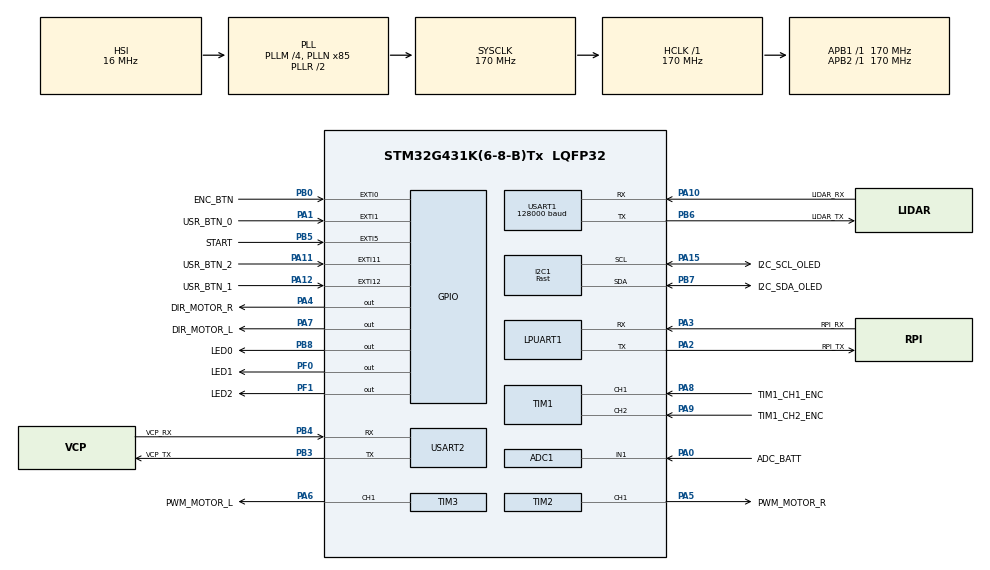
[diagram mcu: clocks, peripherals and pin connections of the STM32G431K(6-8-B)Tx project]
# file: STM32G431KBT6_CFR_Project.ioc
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ADC1.Channel-0\#ChannelRegularConversion=ADC_CHANNEL_1
ADC1.NbrOfConversionFlag=1
ADC1.OffsetNumber-0\#ChannelRegularConversion=ADC_OFFSET_NONE
ADC1.Rank-0\#ChannelRegularConversion=1
ADC1.SamplingTime-0\#ChannelRegularConversion=ADC_SAMPLETIME_2CYCLES_5
ADC1.master=1
Dma.I2C1_TX.0.Direction=DMA_MEMORY_TO_PERIPH
Dma.I2C1_TX.0.EventEnable=DISABLE
Dma.I2C1_TX.0.Instance=DMA1_Channel1
Dma.I2C1_TX.0.MemDataAlignment=DMA_MDATAALIGN_BYTE
Dma.I2C1_TX.0.MemInc=DMA_MINC_ENABLE
Dma.I2C1_TX.0.Mode=DMA_NORMAL
Dma.I2C1_TX.0.PeriphDataAlignment=DMA_PDATAALIGN_BYTE
Dma.I2C1_TX.0.PeriphInc=DMA_PINC_DISABLE
Dma.I2C1_TX.0.Polarity=HAL_DMAMUX_REQ_GEN_RISING
Dma.I2C1_TX.0.Priority=DMA_PRIORITY_LOW
Dma.I2C1_TX.0.RequestNumber=1
Dma.I2C1_TX.0.SignalID=NONE
Dma.I2C1_TX.0.SyncEnable=DISABLE
Dma.I2C1_TX.0.SyncPolarity=HAL_DMAMUX_SYNC_NO_EVENT
Dma.I2C1_TX.0.SyncRequestNumber=1
Dma.I2C1_TX.0.SyncSignalID=NONE
Dma.Request0=I2C1_TX
I2C1.I2C_Speed_Mode=I2C_Fast
I2C1.Speed=100
I2C1.Timing=0x3040A3FF
Mcu.Family=STM32G4
Mcu.Name=STM32G431K(6-8-B)Tx
Mcu.Package=LQFP32
NVIC.DMA1_Channel1_IRQn=true\:0\:0\:false\:false\:true\:false\:true\:true
NVIC.EXTI0_IRQn=true\:10\:0\:true\:false\:true\:true\:true\:true
NVIC.EXTI15_10_IRQn=true\:10\:0\:true\:false\:true\:true\:true\:true
NVIC.EXTI1_IRQn=true\:10\:0\:true\:false\:true\:true\:true\:true
NVIC.EXTI9_5_IRQn=true\:10\:0\:true\:false\:true\:true\:true\:true
NVIC.PriorityGroup=NVIC_PRIORITYGROUP_4
NVIC.TIM6_DAC_IRQn=true\:15\:0\:false\:false\:true\:false\:true\:true
NVIC.TIM7_IRQn=true\:3\:0\:true\:false\:true\:true\:true\:true
NVIC.TimeBase=TIM6_DAC_IRQn
NVIC.TimeBaseIP=TIM6
NVIC.USART1_IRQn=true\:4\:0\:true\:false\:true\:true\:true\:true
PA0.GPIO_Label=ADC_BATT
PA0.Mode=IN1-Single-Ended
PA0.Signal=ADC1_IN1
PA1.GPIO_Label=USR_BTN_0
PA1.GPIO_ModeDefaultEXTI=GPIO_MODE_IT_FALLING
PA1.Signal=GPXTI1
PA10.GPIO_Label=LIDAR_RX
PA10.Mode=Asynchronous
PA10.Signal=USART1_RX
PA11.GPIO_Label=USR_BTN_2
PA11.GPIO_ModeDefaultEXTI=GPIO_MODE_IT_FALLING
PA11.Signal=GPXTI11
PA12.GPIO_Label=USR_BTN_1
PA12.GPIO_ModeDefaultEXTI=GPIO_MODE_IT_FALLING
PA12.Signal=GPXTI12
PA13.Mode=Serial_Wire
PA13.Signal=SYS_JTMS-SWDIO
PA14.Mode=Serial_Wire
PA14.Signal=SYS_JTCK-SWCLK
PA15.GPIO_Label=I2C_SCL_OLED
PA15.GPIO_Speed=GPIO_SPEED_FREQ_VERY_HIGH
PA15.Mode=I2C
PA15.Signal=I2C1_SCL
PA2.GPIO_Label=RPI_TX
PA2.Mode=Asynchronous
PA2.Signal=LPUART1_TX
PA3.GPIO_Label=RPI_RX
PA3.Mode=Asynchronous
PA3.Signal=LPUART1_RX
PA4.GPIO_Label=DIR_MOTOR_R
PA4.Signal=GPIO_Output
PA5.GPIO_Label=PWM_MOTOR_R
PA5.Signal=S_TIM2_CH1
PA6.GPIO_Label=PWM_MOTOR_L
PA6.Signal=S_TIM3_CH1
PA7.GPIO_Label=DIR_MOTOR_L
PA7.Signal=GPIO_Output
PA8.GPIO_Label=TIM1_CH1_ENC
PA8.Signal=S_TIM1_CH1
PA9.GPIO_Label=TIM1_CH2_ENC
PA9.Signal=S_TIM1_CH2
PB0.GPIO_Label=ENC_BTN
PB0.GPIO_ModeDefaultEXTI=GPIO_MODE_IT_FALLING
PB0.Signal=GPXTI0
PB3.GPIO_Label=VCP_TX
PB3.Mode=Asynchronous
PB3.Signal=USART2_TX
PB4.GPIO_Label=VCP_RX
PB4.Mode=Asynchronous
PB4.Signal=USART2_RX
PB5.GPIO_Label=START
PB5.GPIO_ModeDefaultEXTI=GPIO_MODE_IT_FALLING
PB5.GPIO_PuPd=GPIO_PULLDOWN
PB5.Signal=GPXTI5
PB6.GPIO_Label=LIDAR_TX
PB6.Mode=Asynchronous
PB6.Signal=USART1_TX
PB7.GPIO_Label=I2C_SDA_OLED
PB7.GPIO_Speed=GPIO_SPEED_FREQ_VERY_HIGH
PB7.Mode=I2C
PB7.Signal=I2C1_SDA
PB8-BOOT0.GPIO_Label=LED0
PB8-BOOT0.Signal=GPIO_Output
PF0-OSC_IN.GPIO_Label=LED1
PF0-OSC_IN.Signal=GPIO_Output
PF1-OSC_OUT.GPIO_Label=LED2
PF1-OSC_OUT.Signal=GPIO_Output
ProjectManager.HeapSize=0x200
ProjectManager.StackSize=0x400
ProjectManager.TargetToolchain=STM32CubeIDE
RCC.ADC12Freq_Value=170000000
RCC.AHBFreq_Value=170000000
RCC.APB1Freq_Value=170000000
RCC.APB1TimFreq_Value=170000000
RCC.APB2Freq_Value=170000000
RCC.APB2TimFreq_Value=170000000
RCC.CortexFreq_Value=170000000
RCC.EXTERNAL_CLOCK_VALUE=12288000
RCC.HCLKFreq_Value=170000000
RCC.HSE_VALUE=8000000
RCC.HSI48_VALUE=48000000
RCC.HSI_VALUE=16000000
RCC.LSE_VALUE=32768
RCC.PLLM=RCC_PLLM_DIV4
RCC.PLLN=85
RCC.SYSCLKFreq_VALUE=170000000
RCC.SYSCLKSource=RCC_SYSCLKSOURCE_PLLCLK
RCC.USBFreq_Value=170000000
RCC.VCOOutputFreq_Value=340000000
SH.S_TIM1_CH1.0=TIM1_CH1,Encoder_Interface
SH.S_TIM1_CH2.0=TIM1_CH2,Encoder_Interface
SH.S_TIM2_CH1.0=TIM2_CH1,PWM Generation1 CH1
SH.S_TIM3_CH1.0=TIM3_CH1,PWM Generation1 CH1
TIM1.EncoderMode=TIM_ENCODERMODE_TI12
TIM1.IC1Polarity=TIM_ICPOLARITY_FALLING
TIM1.IC2Polarity=TIM_ICPOLARITY_FALLING
TIM2.Channel-PWM\ Generation1\ CH1=TIM_CHANNEL_1
TIM2.PeriodNoDither=1000-1
TIM2.Prescaler=170-1
TIM2.PulseNoDither_1=500-1
TIM3.Channel-PWM\ Generation1\ CH1=TIM_CHANNEL_1
TIM3.PeriodNoDither=1000-1
TIM3.Prescaler=170-1
TIM3.PulseNoDither_1=500-1
TIM7.PeriodNoDither=1000
TIM7.Prescaler=17000
USART1.BaudRate=128000
USART1.SwapParam=ADVFEATURE_SWAP_DISABLE
USART1.VirtualMode-Asynchronous=VM_ASYNC
USART2.VirtualMode-Asynchronous=VM_ASYNC
VP_SYS_VS_DBSignals.Mode=DisableDeadBatterySignals
VP_SYS_VS_tim6.Mode=TIM6
VP_TIM2_VS_ClockSourceINT.Mode=Internal
VP_TIM3_VS_ClockSourceINT.Mode=Internal
VP_TIM7_VS_ClockSourceINT.Mode=Enable_Timer
board=custom

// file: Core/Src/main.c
/* USER CODE BEGIN Header */
/**
 ******************************************************************************
 * @file           : main.c
 * @brief          : Main program body
 ******************************************************************************
 * @attention
 *
 * Copyright (c) 2024 STMicroelectronics.
 * All rights reserved.
 *
 * This software is licensed under terms that can be found in the LICENSE file
 * in the root directory of this software component.
 * If no LICENSE file comes with this software, it is provided AS-IS.
 *
 ******************************************************************************
 */
/* USER CODE END Header */
#include "main.h"
#include "adc.h"
#include "dma.h"
#include "i2c.h"
#include "usart.h"
#include "tim.h"
#include "gpio.h"

/* USER CODE BEGIN Includes */
#include "SSD1306.h"
#include "led.h"
#include "encodeur.h"
#include "button.h"
#include "ydlidar_x4.h"
#include "stepper.h"
#include "strategy.h"
/* USER CODE END Includes */

/* USER CODE BEGIN PD */
#define ANGLE_MIN 120
#define ANGLE_MAX 240
#define DISTANCE_MIN 200
/* USER CODE END PD */

/* USER CODE BEGIN PV */

SSD1306_COLOR screen_color = White;
uint8_t it_enc;
uint8_t it_lidar;
uint8_t it_time;
uint32_t time_100ms = 0;
uint32_t time_100ms_from_start = 0;
uint8_t is_started = 0;
uint8_t is_paused = 0;

uint16_t v_battery_raw;
float v_battery_float;

uint8_t debug = 0;

/* USER CODE END PV */

void SystemClock_Config(void);

int main(void)
{

  /* USER CODE BEGIN 1 */
	uint8_t led = 0;
	uint32_t encValue;
	float min_distance = 10000;
	int idx_angle_min_distance;
	uint8_t object_detected = 1;
  /* USER CODE END 1 */

  /* MCU Configuration--------------------------------------------------------*/

  /* Reset of all peripherals, Initializes the Flash interface and the Systick. */
  HAL_Init();

  /* Configure the system clock */
  SystemClock_Config();

  /* Initialize all configured peripherals */
  MX_GPIO_Init();
  MX_DMA_Init();
  MX_ADC1_Init();
  MX_I2C1_Init();
  MX_LPUART1_UART_Init();
  MX_USART1_UART_Init();
  MX_USART2_UART_Init();
  MX_TIM1_Init();
  MX_TIM2_Init();
  MX_TIM3_Init();
  MX_TIM7_Init();
  /* USER CODE BEGIN 2 */
	tx_Buffer_Size = snprintf((char *)vcp_Tx_Buffer, UART_TX_BUFFER_SIZE, "ENSEA CFR PAMI v0.1\r\n");
	HAL_UART_Transmit(&huart2, vcp_Tx_Buffer, tx_Buffer_Size, 10);

	// Init SCREEN OLED
	if(HAL_OK == SCREEN_SSD1306_Init(&hscreen1, &hi2c1)){
		tx_Buffer_Size = snprintf((char *)vcp_Tx_Buffer, UART_TX_BUFFER_SIZE, "Screen Init Done\r\n");
		HAL_UART_Transmit(&huart2, vcp_Tx_Buffer, tx_Buffer_Size, 10);
		SCREEN_SSD1306_Write_String(&hscreen1, "ENSEA CFR", Font_11x18, screen_color);
		hscreen1.CurrentX = 0;
		hscreen1.CurrentY = 18;
		SCREEN_SSD1306_Write_String(&hscreen1, "Code v0.1", Font_11x18, screen_color);
		SCREEN_SSD1306_Update_Screen(&hscreen1);
	}
	else{
		tx_Buffer_Size = snprintf((char *)vcp_Tx_Buffer, UART_TX_BUFFER_SIZE, "Screen Init Error\r\n");
		HAL_UART_Transmit(&huart2, vcp_Tx_Buffer, tx_Buffer_Size, 10);
	}

	// Init LIDAR
	YDLIDAR_X4_Init(&hlidar, &huart1);

	// Init Encodeur
	//	ENCODEUR_Init(&henc1, &htim1);
	//Bug de l'encodeur, une des 2 pins de réagit pas comme il faudrait... à changer ?!

	// Init Stepper
	Stepper_Init(&hstepperLeft, &htim3, TIM_CHANNEL_1, DIR_MOTOR_L_GPIO_Port, DIR_MOTOR_L_Pin, SET);
	Stepper_Init(&hstepperRight, &htim2, TIM_CHANNEL_1, DIR_MOTOR_R_GPIO_Port, DIR_MOTOR_R_Pin, RESET);

	// Init Time
	HAL_TIM_Base_Start_IT(&htim7);

	// Init Strategy
	STRATEGY_Init();

  /* USER CODE END 2 */

  /* Infinite loop */
  /* USER CODE BEGIN WHILE */
	while (1)
	{
		if(hlidar.newData){
			YDLIDAR_X4_Compute_Payload(&hlidar);
			min_distance = 10000;
			for(int idx_angle=ANGLE_MIN; idx_angle<ANGLE_MAX; idx_angle++){
				if((10 < hlidar.scan_response.distance[idx_angle]) &&
						(hlidar.scan_response.distance[idx_angle] < min_distance)){
					idx_angle_min_distance = idx_angle;
					min_distance = hlidar.scan_response.distance[idx_angle];
				}
			}
			if(min_distance < DISTANCE_MIN){
				LED_set_value(7);
				object_detected = 1;
//				Stepper_Stop(&hstepperLeft);
//				Stepper_Stop(&hstepperRight);
			}
			else{
				object_detected = 0;
				LED_set_value(0);
			}

			hlidar.newData = 0;
		}

		if(button.pushed){
			switch(button.name){
			case BTN_0:
				STRATEGY_Update();
				SCREEN_SSD1306_Print_Info(&hscreen1, time_100ms, time_100ms_from_start, v_battery_float, idx_angle_min_distance, min_distance, actual_strategy);
				// add code here
				break;
			case BTN_1:
				is_started = 1;
				// add code here
				break;
			case BTN_2:
				// add code here
				SCREEN_SSD1306_Print_Info(&hscreen1, time_100ms, time_100ms_from_start, v_battery_float, idx_angle_min_distance, min_distance, actual_strategy);
				break;
			case BTN_ENC:
				// add code here
				break;
			case START: // Tirette
				is_started = 1;
				// add code here
				break;
			default:

			}
			button.pushed = 0;
		}
		else if(it_time){ // each 100ms

			if(is_started && !is_paused){
				time_100ms_from_start++;
			}

			STRATEGY_Refresh(time_100ms_from_start, object_detected, is_started);

			// Get Voltage
			HAL_ADC_Start(&hadc1);
			HAL_ADC_PollForConversion(&hadc1, 1);
			v_battery_raw = HAL_ADC_GetValue(&hadc1);
			v_battery_float = v_battery_raw*0.0021; // 3.3/4095*25/10

//			if(time_100ms%10 == 0){
//				SCREEN_SSD1306_Print_Info(&hscreen1, time_100ms, time_100ms_from_start, v_battery_float, idx_angle_min_distance, min_distance, actual_strategy);
//			}

			it_time = 0;
		}

    /* USER CODE END WHILE */

	}
}

void SystemClock_Config(void)
{
  RCC_OscInitTypeDef RCC_OscInitStruct = {0};
  RCC_ClkInitTypeDef RCC_ClkInitStruct = {0};

  /** Configure the main internal regulator output voltage
  */
  HAL_PWREx_ControlVoltageScaling(PWR_REGULATOR_VOLTAGE_SCALE1_BOOST);

  /** Initializes the RCC Oscillators according to the specified parameters
  * in the RCC_OscInitTypeDef structure.
  */
  RCC_OscInitStruct.OscillatorType = RCC_OSCILLATORTYPE_HSI;
  RCC_OscInitStruct.HSIState = RCC_HSI_ON;
  RCC_OscInitStruct.HSICalibrationValue = RCC_HSICALIBRATION_DEFAULT;
  RCC_OscInitStruct.PLL.PLLState = RCC_PLL_ON;
  RCC_OscInitStruct.PLL.PLLSource = RCC_PLLSOURCE_HSI;
  RCC_OscInitStruct.PLL.PLLM = RCC_PLLM_DIV4;
  RCC_OscInitStruct.PLL.PLLN = 85;
  RCC_OscInitStruct.PLL.PLLP = RCC_PLLP_DIV2;
  RCC_OscInitStruct.PLL.PLLQ = RCC_PLLQ_DIV2;
  RCC_OscInitStruct.PLL.PLLR = RCC_PLLR_DIV2;
  if (HAL_RCC_OscConfig(&RCC_OscInitStruct) != HAL_OK)
  {
    Error_Handler();
  }

  /** Initializes the CPU, AHB and APB buses clocks
  */
  RCC_ClkInitStruct.ClockType = RCC_CLOCKTYPE_HCLK|RCC_CLOCKTYPE_SYSCLK
                              |RCC_CLOCKTYPE_PCLK1|RCC_CLOCKTYPE_PCLK2;
  RCC_ClkInitStruct.SYSCLKSource = RCC_SYSCLKSOURCE_PLLCLK;
  RCC_ClkInitStruct.AHBCLKDivider = RCC_SYSCLK_DIV1;
  RCC_ClkInitStruct.APB1CLKDivider = RCC_HCLK_DIV1;
  RCC_ClkInitStruct.APB2CLKDivider = RCC_HCLK_DIV1;

  if (HAL_RCC_ClockConfig(&RCC_ClkInitStruct, FLASH_LATENCY_4) != HAL_OK)
  {
    Error_Handler();
  }
}

void HAL_TIM_PeriodElapsedCallback(TIM_HandleTypeDef *htim)
{
  if (htim->Instance == TIM6) {
    HAL_IncTick();
  }
  /* USER CODE BEGIN Callback 1 */
	if (htim->Instance == TIM7) {
		time_100ms++;
		it_time = 1;
	}
  /* USER CODE END Callback 1 */
}

void Error_Handler(void)
{
  /* USER CODE BEGIN Error_Handler_Debug */
	HAL_UART_Transmit(&huart2, "Error_Handler\r\n", 15, 100);
	/* User can add his own implementation to report the HAL error return state */
	__disable_irq();
	while (1)
	{
	}
  /* USER CODE END Error_Handler_Debug */
}
